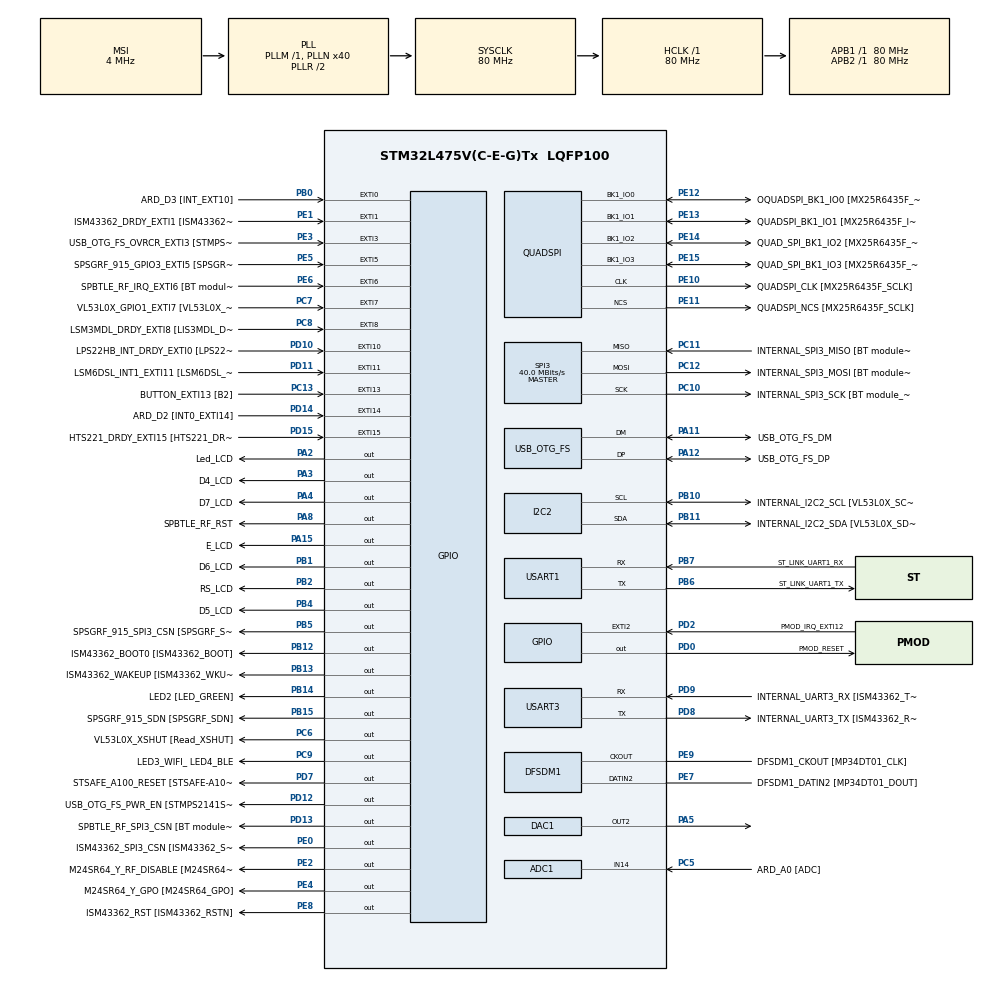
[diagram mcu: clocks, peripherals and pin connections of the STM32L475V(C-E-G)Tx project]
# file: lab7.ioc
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ADC1.Channel-0\#ChannelRegularConversion=ADC_CHANNEL_14
ADC1.NbrOfConversionFlag=1
ADC1.OffsetNumber-0\#ChannelRegularConversion=ADC_OFFSET_NONE
ADC1.Rank-0\#ChannelRegularConversion=1
ADC1.SamplingTime-0\#ChannelRegularConversion=ADC_SAMPLETIME_2CYCLES_5
ADC1.master=1
DAC1.DAC_Channel-DAC_OUT2=DAC_CHANNEL_2
I2C2.Timing=0x10D19CE4
Mcu.Family=STM32L4
Mcu.Name=STM32L475V(C-E-G)Tx
Mcu.Package=LQFP100
NVIC.EXTI15_10_IRQn=true\:0\:0\:false\:false\:true\:true\:true\:true
NVIC.EXTI9_5_IRQn=true\:0\:0\:false\:false\:true\:true\:true\:true
NVIC.OTG_FS_IRQn=true\:0\:0\:false\:false\:true\:true\:true\:true
NVIC.PriorityGroup=NVIC_PRIORITYGROUP_4
NVIC.TIM7_IRQn=true\:0\:0\:false\:false\:true\:true\:true\:true
PA0.GPIO_Label=ARD_D1 [UART4_TX]
PA0.Signal=UART4_TX
PA1.GPIO_Label=ARD_D0 [UART4_RX]
PA1.Signal=UART4_RX
PA10.GPIO_Label=USB_OTG_FS_ID
PA10.Signal=USB_OTG_FS_ID
PA11.GPIO_Label=USB_OTG_FS_DM
PA11.Mode=Device_Only
PA11.Signal=USB_OTG_FS_DM
PA12.GPIO_Label=USB_OTG_FS_DP
PA12.Mode=Device_Only
PA12.Signal=USB_OTG_FS_DP
PA13\ (JTMS-SWDIO).GPIO_Label=SYS_JTMS_SWDIO
PA13\ (JTMS-SWDIO).Mode=Serial_Wire
PA13\ (JTMS-SWDIO).Signal=SYS_JTMS-SWDIO
PA14\ (JTCK-SWCLK).GPIO_Label=SYS_JTCK_SWCLK
PA14\ (JTCK-SWCLK).Mode=Serial_Wire
PA14\ (JTCK-SWCLK).Signal=SYS_JTCK-SWCLK
PA15\ (JTDI).GPIO_Label=E_LCD
PA15\ (JTDI).Signal=GPIO_Output
PA2.GPIO_Label=Led_LCD
PA2.Signal=GPIO_Output
PA3.GPIO_Label=D4_LCD
PA3.Signal=GPIO_Output
PA4.GPIO_Label=D7_LCD
PA4.Signal=GPIO_Output
PA5.Signal=COMP_DAC12_group
PA6.GPIO_Label=ARD_D12 [SPI1_MISO]
PA6.Signal=SPI1_MISO
PA7.GPIO_Label=ARD_D11 [SPI1_MOSI]
PA7.Signal=SPI1_MOSI
PA8.GPIO_Label=SPBTLE_RF_RST
PA8.Signal=GPIO_Output
PA9.GPIO_Label=USB_OTG_FS_VBUS [STMPS2141STR_OUT]
PA9.Signal=USB_OTG_FS_VBUS
PB0.GPIO_Label=ARD_D3 [INT_EXT10]
PB0.Signal=GPXTI0
PB1.GPIO_Label=D6_LCD
PB1.Signal=GPIO_Output
PB10.GPIO_Label=INTERNAL_I2C2_SCL [VL53L0X_SCL]
PB10.GPIO_Pu=GPIO_PULLUP
PB10.Mode=I2C
PB10.Signal=I2C2_SCL
PB11.GPIO_Label=INTERNAL_I2C2_SDA [VL53L0X_SDA]
PB11.GPIO_Pu=GPIO_PULLUP
PB11.Mode=I2C
PB11.Signal=I2C2_SDA
PB12.GPIO_Label=ISM43362_BOOT0 [ISM43362_BOOT]
PB12.Signal=GPIO_Output
PB13.GPIO_Label=ISM43362_WAKEUP [ISM43362_WKUP]
PB13.Signal=GPIO_Output
PB14.GPIO_Label=LED2 [LED_GREEN]
PB14.Signal=GPIO_Output
PB15.GPIO_Label=SPSGRF_915_SDN [SPSGRF_SDN]
PB15.Signal=GPIO_Output
PB2.GPIO_Label=RS_LCD
PB2.Signal=GPIO_Output
PB3\ (JTDO-TRACESWO).GPIO_Label=SYS_JTD0_SWO
PB3\ (JTDO-TRACESWO).Signal=SYS_JTDO-SWO
PB4\ (NJTRST).GPIO_Label=D5_LCD
PB4\ (NJTRST).Signal=GPIO_Output
PB5.GPIO_Label=SPSGRF_915_SPI3_CSN [SPSGRF_SPI_CS]
PB5.PinState=GPIO_PIN_SET
PB5.Signal=GPIO_Output
PB6.GPIO_Label=ST_LINK_UART1_TX
PB6.Mode=Asynchronous
PB6.Signal=USART1_TX
PB7.GPIO_Label=ST_LINK_UART1_RX
PB7.Mode=Asynchronous
PB7.Signal=USART1_RX
PB8.GPIO_Label=ARD_D15 [I2C1_SCL]
PB8.Signal=I2C1_SCL
PB9.GPIO_Label=ARD_D14 [I2C1_SDA]
PB9.Signal=I2C1_SDA
PC0.GPIO_Label=ARD_A5 [ADC]
PC0.Signal=ADCx_IN1
PC1.GPIO_Label=ARD_A4 [ADC]
PC1.Signal=ADCx_IN2
PC10.GPIO_Label=INTERNAL_SPI3_SCK [BT module_SPI_SCLK] [ISM43362_SCK]
PC10.Mode=Full_Duplex_Master
PC10.Signal=SPI3_SCK
PC11.GPIO_Label=INTERNAL_SPI3_MISO [BT module_SPI_MISO] [ISM43362_MISO]
PC11.Mode=Full_Duplex_Master
PC11.Signal=SPI3_MISO
PC12.GPIO_Label=INTERNAL_SPI3_MOSI [BT module_SPI_MOSI] [ISM43362_MOSI]
PC12.Mode=Full_Duplex_Master
PC12.Signal=SPI3_MOSI
PC13.GPIO_Label=BUTTON_EXTI13 [B2]
PC13.GPIO_ModeDefaultEXTI=GPIO_MODE_IT_FALLING
PC13.Signal=GPXTI13
PC14-OSC32_IN\ (PC14).Mode=LSE-External-Oscillator
PC14-OSC32_IN\ (PC14).Signal=RCC_OSC32_IN
PC15-OSC32_OUT\ (PC15).Mode=LSE-External-Oscillator
PC15-OSC32_OUT\ (PC15).Signal=RCC_OSC32_OUT
PC2.GPIO_Label=ARD_A3 [ADC]
PC2.Signal=ADCx_IN3
PC3.GPIO_Label=ARD_A2 [ADC]
PC3.Signal=ADCx_IN4
PC4.GPIO_Label=ARD_A1 [ADC]
PC4.Signal=ADCx_IN13
PC5.GPIO_Label=ARD_A0 [ADC]
PC5.Signal=ADCx_IN14
PC6.GPIO_Label=VL53L0X_XSHUT [Read_XSHUT]
PC6.Signal=GPIO_Output
PC7.GPIO_Label=VL53L0X_GPIO1_EXTI7 [VL53L0X_GPIO1]
PC7.Signal=GPXTI7
PC8.GPIO_Label=LSM3MDL_DRDY_EXTI8 [LIS3MDL_DRDY]
PC8.Signal=GPXTI8
PC9.GPIO_Label=LED3_WIFI_ LED4_BLE
PC9.Signal=GPIO_Output
PD0.GPIO_Label=PMOD_RESET
PD0.Signal=GPIO_Output
PD1.GPIO_Label=PMOD_SPI2_SCK
PD1.Signal=SPI2_SCK
PD10.GPIO_Label=LPS22HB_INT_DRDY_EXTI0 [LPS22HB_INT_DRDY] 
PD10.Signal=GPXTI10
PD11.GPIO_Label=LSM6DSL_INT1_EXTI11 [LSM6DSL_INT1]
PD11.Signal=GPXTI11
PD12.GPIO_Label=USB_OTG_FS_PWR_EN [STMPS2141STR_EN]
PD12.Signal=GPIO_Output
PD13.GPIO_Label=SPBTLE_RF_SPI3_CSN [BT module_SPI_CS]
PD13.PinState=GPIO_PIN_SET
PD13.Signal=GPIO_Output
PD14.GPIO_Label=ARD_D2 [INT0_EXTI14]
PD14.Signal=GPXTI14
PD15.GPIO_Label=HTS221_DRDY_EXTI15 [HTS221_DRDY]
PD15.Signal=GPXTI15
PD2.GPIO_Label=PMOD_IRQ_EXTI12
PD2.Signal=GPXTI2
PD3.GPIO_Label=PMOD_UART2_CTS
PD3.Signal=USART2_CTS
PD4.GPIO_Label=PMOD_UART2_RTS
PD4.Signal=USART2_RTS
PD5.GPIO_Label=PMOD_UART2_TX
PD5.Signal=USART2_TX
PD6.GPIO_Label=PMOD_UART2_RX
PD6.Signal=USART2_RX
PD7.GPIO_Label=STSAFE_A100_RESET [STSAFE-A100_RESET]
PD7.Signal=GPIO_Output
PD8.GPIO_Label=INTERNAL_UART3_TX [ISM43362_RX]
PD8.Mode=Asynchronous
PD8.Signal=USART3_TX
PD9.GPIO_Label=INTERNAL_UART3_RX [ISM43362_TX]
PD9.Mode=Asynchronous
PD9.Signal=USART3_RX
PE0.GPIO_Label=ISM43362_SPI3_CSN [ISM43362_SSN]
PE0.PinState=GPIO_PIN_SET
PE0.Signal=GPIO_Output
PE1.GPIO_Label=ISM43362_DRDY_EXTI1 [ISM43362_DATARDY]
PE1.Signal=GPXTI1
PE10.GPIO_Label=QUADSPI_CLK [MX25R6435F_SCLK]
PE10.Mode=Single Bank
PE10.Signal=QUADSPI_CLK
PE11.GPIO_Label=QUADSPI_NCS [MX25R6435F_SCLK]
PE11.Mode=Single Bank
PE11.Signal=QUADSPI_NCS
PE12.GPIO_Label=OQUADSPI_BK1_IO0 [MX25R6435F_IO0]
PE12.Mode=Single Bank
PE12.Signal=QUADSPI_BK1_IO0
PE13.GPIO_Label=QUADSPI_BK1_IO1 [MX25R6435F_IO1]
PE13.Mode=Single Bank
PE13.Signal=QUADSPI_BK1_IO1
PE14.GPIO_Label=QUAD_SPI_BK1_IO2 [MX25R6435F_IO2]
PE14.Mode=Single Bank
PE14.Signal=QUADSPI_BK1_IO2
PE15.GPIO_Label=QUAD_SPI_BK1_IO3 [MX25R6435F_IO3]
PE15.Mode=Single Bank
PE15.Signal=QUADSPI_BK1_IO3
PE2.GPIO_Label=M24SR64_Y_RF_DISABLE [M24SR64_RFDIS]
PE2.Signal=GPIO_Output
PE3.GPIO_Label=USB_OTG_FS_OVRCR_EXTI3 [STMPS2141STR_FAULT]
PE3.Signal=GPXTI3
PE4.GPIO_Label=M24SR64_Y_GPO [M24SR64_GPO]
PE4.Signal=GPIO_Output
PE5.GPIO_Label=SPSGRF_915_GPIO3_EXTI5 [SPSGRF_GPIO_3]
PE5.Signal=GPXTI5
PE6.GPIO_Label=SPBTLE_RF_IRQ_EXTI6 [BT module_SPI_IRQ]
PE6.Signal=GPXTI6
PE7.GPIO_Label=DFSDM1_DATIN2 [MP34DT01_DOUT]
PE7.Signal=S_DATAIN2DFSDM1
PE8.GPIO_Label=ISM43362_RST [ISM43362_RSTN]
PE8.Signal=GPIO_Output
PE9.GPIO_Label=DFSDM1_CKOUT [MP34DT01_CLK]
PE9.Signal=S_CKOUTDFSDM1
ProjectManager.HeapSize=0x200
ProjectManager.StackSize=0x400
ProjectManager.TargetToolchain=STM32CubeIDE
QUADSPI.ClockPrescaler=2
QUADSPI.FifoThreshold=4
QUADSPI.FlashSize=23
QUADSPI.SampleShifting=QSPI_SAMPLE_SHIFTING_HALFCYCLE
RCC.ADCFreq_Value=48000000
RCC.AHBFreq_Value=80000000
RCC.APB1Freq_Value=80000000
RCC.APB1TimFreq_Value=80000000
RCC.APB2Freq_Value=80000000
RCC.APB2TimFreq_Value=80000000
RCC.CortexFreq_Value=80000000
RCC.HCLKFreq_Value=80000000
RCC.HSE_VALUE=8000000
RCC.HSI_VALUE=16000000
RCC.MSI_VALUE=4000000
RCC.PLLN=40
RCC.PLLSAI1N=24
RCC.SYSCLKFreq_VALUE=80000000
RCC.SYSCLKSource=RCC_SYSCLKSOURCE_PLLCLK
RCC.USBFreq_Value=48000000
RCC.VCOOutputFreq_Value=160000000
SH.ADCx_IN1.0=ADC1_IN1
SH.ADCx_IN13.0=ADC1_IN13
SH.ADCx_IN14.0=ADC1_IN14,IN14-Single-Ended
SH.ADCx_IN2.0=ADC1_IN2
SH.ADCx_IN3.0=ADC1_IN3
SH.ADCx_IN4.0=ADC1_IN4
SH.COMP_DAC12_group.0=DAC1_OUT2,DAC_OUT2
SH.S_CKOUTDFSDM1.0=DFSDM1_CKOUT,CKOUT
SH.S_CKOUTDFSDM1.1=DFSDM1_CKOUT,PDM_SPI_Input_from_ch12_and_Internal_Clock
SH.S_DATAIN2DFSDM1.0=DFSDM1_DATIN2,PDM_SPI_Input_from_ch12_and_Internal_Clock
SPI3.CalculateBaudRate=40.0 MBits/s
SPI3.Direction=SPI_DIRECTION_2LINES
SPI3.Mode=SPI_MODE_MASTER
SPI3.VirtualType=VM_MASTER
TIM7.Period=3300
USART1.VirtualMode-Asynchronous=VM_ASYNC
USART3.VirtualMode-Asynchronous=VM_ASYNC
USB_DEVICE.CLASS_NAME_FS=AUDIO
USB_DEVICE.PID_AUDIO_FS=22337
USB_DEVICE.USBD_AUDIO_FREQ=24000
USB_DEVICE.VirtualMode=Audio
USB_DEVICE.VirtualModeFS=Audio_FS
USB_OTG_FS.VirtualMode=Device_Only
VP_TIM7_VS_ClockSourceINT.Mode=Enable_Timer
VP_USB_DEVICE_VS_USB_DEVICE_AUDIO_FS.Mode=AUDIO_FS
board=B-L475E-IOT01A1

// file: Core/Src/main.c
/* USER CODE BEGIN Header */
/**
  ******************************************************************************
  * @file           : main.c
  * @brief          : Main program body
  ******************************************************************************
  * @attention
  *
  * Copyright (c) 2026 STMicroelectronics.
  * All rights reserved.
  *
  * This software is licensed under terms that can be found in the LICENSE file
  * in the root directory of this software component.
  * If no LICENSE file comes with this software, it is provided AS-IS.
  *
  ******************************************************************************
  */
/* USER CODE END Header */
#include "main.h"
#include "usb_device.h"

/* USER CODE BEGIN Includes */
#include "hd44780.h"
/* USER CODE END Includes */

ADC_HandleTypeDef hadc1;

DAC_HandleTypeDef hdac1;

DFSDM_Channel_HandleTypeDef hdfsdm1_channel1;

I2C_HandleTypeDef hi2c2;

QSPI_HandleTypeDef hqspi;

SPI_HandleTypeDef hspi3;

TIM_HandleTypeDef htim7;

UART_HandleTypeDef huart1;
UART_HandleTypeDef huart3;

void SystemClock_Config(void);
void PeriphCommonClock_Config(void);
static void MX_GPIO_Init(void);
static void MX_DFSDM1_Init(void);
static void MX_I2C2_Init(void);
static void MX_QUADSPI_Init(void);
static void MX_SPI3_Init(void);
static void MX_USART1_UART_Init(void);
static void MX_USART3_UART_Init(void);
static void MX_TIM7_Init(void);
static void MX_DAC1_Init(void);
static void MX_ADC1_Init(void);

/* USER CODE BEGIN 0 */
extern float ganancia;
extern uint8_t efecto;

void tarea3(void) {
    uint16_t botin;
    char str[16];

    // 1. Iniciar la conversión ADC
    HAL_ADC_Start(&hadc1);

    // 2. Esperar a que termine (Timeout de 100ms)
    HAL_ADC_PollForConversion(&hadc1, 100);

    // 3. Leer el valor
    botin = HAL_ADC_GetValue(&hadc1);

    /*moveToXY(0,0);
    lcd_print("Val ADC: ");
    writeIntegerToLCD(botin); // Imprime el valor en crudo*/

    // Si leemos menos de 3000, significa que se pulsó algo (solo con SELECT da ~3333)
    if (botin < 3000) {
        if (botin < 2750 && 2600 < botin) { // Botón LEFT
            efecto = efecto - 5;
        }
        if (botin < 10) { // Botón RIGHT
            efecto = efecto + 5;
        }
        if (botin < 1900 && 1300 < botin) { // Botón DOWN
            ganancia = ganancia - 0.1;
        }
        if (botin < 750 && 650 < botin) { // Botón UP
            ganancia = ganancia + 0.1;
        }
    }

    // 4. Actualizar el LCD
    moveToXY(0,0);
    lcd_print("Efecto= ");
    writeIntegerToLCD(efecto);

    moveToXY(1,0);
    sprintf(str, "Ganan= %.1f ", ganancia); // %.1f para mostrar solo 1 decimal
    lcd_print(str);
}
/* USER CODE END 0 */

int main(void)
{

  /* MCU Configuration--------------------------------------------------------*/

  /* Reset of all peripherals, Initializes the Flash interface and the Systick. */
  HAL_Init();

  /* Configure the system clock */
  SystemClock_Config();

  /* Configure the peripherals common clocks */
  PeriphCommonClock_Config();

  /* Initialize all configured peripherals */
  MX_GPIO_Init();
  MX_DFSDM1_Init();
  MX_I2C2_Init();
  MX_QUADSPI_Init();
  MX_SPI3_Init();
  MX_USART1_UART_Init();
  MX_USART3_UART_Init();
  MX_TIM7_Init();
  MX_USB_DEVICE_Init();
  MX_DAC1_Init();
  MX_ADC1_Init();
  /* USER CODE BEGIN 2 */
  HAL_DAC_Start(&hdac1, DAC1_CHANNEL_2);
  HAL_TIM_Base_Start_IT(&htim7);
  lcd_reset();
  lcd_display_settings(1,0,0);
  lcd_clear();
  HAL_GPIO_WritePin(GPIOA, Led_LCD_Pin, 1); // ¡Esta es la línea que enciende la luz!
  /* USER CODE END 2 */

  /* Infinite loop */
  /* USER CODE BEGIN WHILE */
  while (1)
  {
	  tarea3();
	  HAL_Delay(300);
    /* USER CODE END WHILE */

  }
}

void SystemClock_Config(void)
{
  RCC_OscInitTypeDef RCC_OscInitStruct = {0};
  RCC_ClkInitTypeDef RCC_ClkInitStruct = {0};

  /** Configure the main internal regulator output voltage
  */
  if (HAL_PWREx_ControlVoltageScaling(PWR_REGULATOR_VOLTAGE_SCALE1) != HAL_OK)
  {
    Error_Handler();
  }

  /** Configure LSE Drive Capability
  */
  HAL_PWR_EnableBkUpAccess();
  __HAL_RCC_LSEDRIVE_CONFIG(RCC_LSEDRIVE_LOW);

  /** Initializes the RCC Oscillators according to the specified parameters
  * in the RCC_OscInitTypeDef structure.
  */
  RCC_OscInitStruct.OscillatorType = RCC_OSCILLATORTYPE_LSE|RCC_OSCILLATORTYPE_MSI;
  RCC_OscInitStruct.LSEState = RCC_LSE_ON;
  RCC_OscInitStruct.MSIState = RCC_MSI_ON;
  RCC_OscInitStruct.MSICalibrationValue = 0;
  RCC_OscInitStruct.MSIClockRange = RCC_MSIRANGE_6;
  RCC_OscInitStruct.PLL.PLLState = RCC_PLL_ON;
  RCC_OscInitStruct.PLL.PLLSource = RCC_PLLSOURCE_MSI;
  RCC_OscInitStruct.PLL.PLLM = 1;
  RCC_OscInitStruct.PLL.PLLN = 40;
  RCC_OscInitStruct.PLL.PLLP = RCC_PLLP_DIV7;
  RCC_OscInitStruct.PLL.PLLQ = RCC_PLLQ_DIV2;
  RCC_OscInitStruct.PLL.PLLR = RCC_PLLR_DIV2;
  if (HAL_RCC_OscConfig(&RCC_OscInitStruct) != HAL_OK)
  {
    Error_Handler();
  }

  /** Initializes the CPU, AHB and APB buses clocks
  */
  RCC_ClkInitStruct.ClockType = RCC_CLOCKTYPE_HCLK|RCC_CLOCKTYPE_SYSCLK
                              |RCC_CLOCKTYPE_PCLK1|RCC_CLOCKTYPE_PCLK2;
  RCC_ClkInitStruct.SYSCLKSource = RCC_SYSCLKSOURCE_PLLCLK;
  RCC_ClkInitStruct.AHBCLKDivider = RCC_SYSCLK_DIV1;
  RCC_ClkInitStruct.APB1CLKDivider = RCC_HCLK_DIV1;
  RCC_ClkInitStruct.APB2CLKDivider = RCC_HCLK_DIV1;

  if (HAL_RCC_ClockConfig(&RCC_ClkInitStruct, FLASH_LATENCY_4) != HAL_OK)
  {
    Error_Handler();
  }

  /** Enable MSI Auto calibration
  */
  HAL_RCCEx_EnableMSIPLLMode();
}

void PeriphCommonClock_Config(void)
{
  RCC_PeriphCLKInitTypeDef PeriphClkInit = {0};

  /** Initializes the peripherals clock
  */
  PeriphClkInit.PeriphClockSelection = RCC_PERIPHCLK_USB|RCC_PERIPHCLK_ADC;
  PeriphClkInit.AdcClockSelection = RCC_ADCCLKSOURCE_PLLSAI1;
  PeriphClkInit.UsbClockSelection = RCC_USBCLKSOURCE_PLLSAI1;
  PeriphClkInit.PLLSAI1.PLLSAI1Source = RCC_PLLSOURCE_MSI;
  PeriphClkInit.PLLSAI1.PLLSAI1M = 1;
  PeriphClkInit.PLLSAI1.PLLSAI1N = 24;
  PeriphClkInit.PLLSAI1.PLLSAI1P = RCC_PLLP_DIV7;
  PeriphClkInit.PLLSAI1.PLLSAI1Q = RCC_PLLQ_DIV2;
  PeriphClkInit.PLLSAI1.PLLSAI1R = RCC_PLLR_DIV2;
  PeriphClkInit.PLLSAI1.PLLSAI1ClockOut = RCC_PLLSAI1_48M2CLK|RCC_PLLSAI1_ADC1CLK;
  if (HAL_RCCEx_PeriphCLKConfig(&PeriphClkInit) != HAL_OK)
  {
    Error_Handler();
  }
}

static void MX_ADC1_Init(void)
{

  ADC_MultiModeTypeDef multimode = {0};
  ADC_ChannelConfTypeDef sConfig = {0};

  /** Common config
  */
  hadc1.Instance = ADC1;
  hadc1.Init.ClockPrescaler = ADC_CLOCK_ASYNC_DIV1;
  hadc1.Init.Resolution = ADC_RESOLUTION_12B;
  hadc1.Init.DataAlign = ADC_DATAALIGN_RIGHT;
  hadc1.Init.ScanConvMode = ADC_SCAN_DISABLE;
  hadc1.Init.EOCSelection = ADC_EOC_SINGLE_CONV;
  hadc1.Init.LowPowerAutoWait = DISABLE;
  hadc1.Init.ContinuousConvMode = DISABLE;
  hadc1.Init.NbrOfConversion = 1;
  hadc1.Init.DiscontinuousConvMode = DISABLE;
  hadc1.Init.ExternalTrigConv = ADC_SOFTWARE_START;
  hadc1.Init.ExternalTrigConvEdge = ADC_EXTERNALTRIGCONVEDGE_NONE;
  hadc1.Init.DMAContinuousRequests = DISABLE;
  hadc1.Init.Overrun = ADC_OVR_DATA_PRESERVED;
  hadc1.Init.OversamplingMode = DISABLE;
  if (HAL_ADC_Init(&hadc1) != HAL_OK)
  {
    Error_Handler();
  }

  /** Configure the ADC multi-mode
  */
  multimode.Mode = ADC_MODE_INDEPENDENT;
  if (HAL_ADCEx_MultiModeConfigChannel(&hadc1, &multimode) != HAL_OK)
  {
    Error_Handler();
  }

  /** Configure Regular Channel
  */
  sConfig.Channel = ADC_CHANNEL_14;
  sConfig.Rank = ADC_REGULAR_RANK_1;
  sConfig.SamplingTime = ADC_SAMPLETIME_2CYCLES_5;
  sConfig.SingleDiff = ADC_SINGLE_ENDED;
  sConfig.OffsetNumber = ADC_OFFSET_NONE;
  sConfig.Offset = 0;
  if (HAL_ADC_ConfigChannel(&hadc1, &sConfig) != HAL_OK)
  {
    Error_Handler();
  }

}

static void MX_DAC1_Init(void)
{

  DAC_ChannelConfTypeDef sConfig = {0};

  /** DAC Initialization
  */
  hdac1.Instance = DAC1;
  if (HAL_DAC_Init(&hdac1) != HAL_OK)
  {
    Error_Handler();
  }

  /** DAC channel OUT2 config
  */
  sConfig.DAC_SampleAndHold = DAC_SAMPLEANDHOLD_DISABLE;
  sConfig.DAC_Trigger = DAC_TRIGGER_NONE;
  sConfig.DAC_OutputBuffer = DAC_OUTPUTBUFFER_ENABLE;
  sConfig.DAC_ConnectOnChipPeripheral = DAC_CHIPCONNECT_DISABLE;
  sConfig.DAC_UserTrimming = DAC_TRIMMING_FACTORY;
  if (HAL_DAC_ConfigChannel(&hdac1, &sConfig, DAC_CHANNEL_2) != HAL_OK)
  {
    Error_Handler();
  }

}

static void MX_DFSDM1_Init(void)
{

  hdfsdm1_channel1.Instance = DFSDM1_Channel1;
  hdfsdm1_channel1.Init.OutputClock.Activation = ENABLE;
  hdfsdm1_channel1.Init.OutputClock.Selection = DFSDM_CHANNEL_OUTPUT_CLOCK_SYSTEM;
  hdfsdm1_channel1.Init.OutputClock.Divider = 2;
  hdfsdm1_channel1.Init.Input.Multiplexer = DFSDM_CHANNEL_EXTERNAL_INPUTS;
  hdfsdm1_channel1.Init.Input.DataPacking = DFSDM_CHANNEL_STANDARD_MODE;
  hdfsdm1_channel1.Init.Input.Pins = DFSDM_CHANNEL_FOLLOWING_CHANNEL_PINS;
  hdfsdm1_channel1.Init.SerialInterface.Type = DFSDM_CHANNEL_SPI_RISING;
  hdfsdm1_channel1.Init.SerialInterface.SpiClock = DFSDM_CHANNEL_SPI_CLOCK_INTERNAL;
  hdfsdm1_channel1.Init.Awd.FilterOrder = DFSDM_CHANNEL_FASTSINC_ORDER;
  hdfsdm1_channel1.Init.Awd.Oversampling = 1;
  hdfsdm1_channel1.Init.Offset = 0;
  hdfsdm1_channel1.Init.RightBitShift = 0x00;
  if (HAL_DFSDM_ChannelInit(&hdfsdm1_channel1) != HAL_OK)
  {
    Error_Handler();
  }

}

static void MX_I2C2_Init(void)
{

  hi2c2.Instance = I2C2;
  hi2c2.Init.Timing = 0x10D19CE4;
  hi2c2.Init.OwnAddress1 = 0;
  hi2c2.Init.AddressingMode = I2C_ADDRESSINGMODE_7BIT;
  hi2c2.Init.DualAddressMode = I2C_DUALADDRESS_DISABLE;
  hi2c2.Init.OwnAddress2 = 0;
  hi2c2.Init.OwnAddress2Masks = I2C_OA2_NOMASK;
  hi2c2.Init.GeneralCallMode = I2C_GENERALCALL_DISABLE;
  hi2c2.Init.NoStretchMode = I2C_NOSTRETCH_DISABLE;
  if (HAL_I2C_Init(&hi2c2) != HAL_OK)
  {
    Error_Handler();
  }

  /** Configure Analogue filter
  */
  if (HAL_I2CEx_ConfigAnalogFilter(&hi2c2, I2C_ANALOGFILTER_ENABLE) != HAL_OK)
  {
    Error_Handler();
  }

  /** Configure Digital filter
  */
  if (HAL_I2CEx_ConfigDigitalFilter(&hi2c2, 0) != HAL_OK)
  {
    Error_Handler();
  }

}

static void MX_QUADSPI_Init(void)
{

  /* QUADSPI parameter configuration*/
  hqspi.Instance = QUADSPI;
  hqspi.Init.ClockPrescaler = 2;
  hqspi.Init.FifoThreshold = 4;
  hqspi.Init.SampleShifting = QSPI_SAMPLE_SHIFTING_HALFCYCLE;
  hqspi.Init.FlashSize = 23;
  hqspi.Init.ChipSelectHighTime = QSPI_CS_HIGH_TIME_1_CYCLE;
  hqspi.Init.ClockMode = QSPI_CLOCK_MODE_0;
  if (HAL_QSPI_Init(&hqspi) != HAL_OK)
  {
    Error_Handler();
  }

}

static void MX_SPI3_Init(void)
{

  /* SPI3 parameter configuration*/
  hspi3.Instance = SPI3;
  hspi3.Init.Mode = SPI_MODE_MASTER;
  hspi3.Init.Direction = SPI_DIRECTION_2LINES;
  hspi3.Init.DataSize = SPI_DATASIZE_4BIT;
  hspi3.Init.CLKPolarity = SPI_POLARITY_LOW;
  hspi3.Init.CLKPhase = SPI_PHASE_1EDGE;
  hspi3.Init.NSS = SPI_NSS_SOFT;
  hspi3.Init.BaudRatePrescaler = SPI_BAUDRATEPRESCALER_2;
  hspi3.Init.FirstBit = SPI_FIRSTBIT_MSB;
  hspi3.Init.TIMode = SPI_TIMODE_DISABLE;
  hspi3.Init.CRCCalculation = SPI_CRCCALCULATION_DISABLE;
  hspi3.Init.CRCPolynomial = 7;
  hspi3.Init.CRCLength = SPI_CRC_LENGTH_DATASIZE;
  hspi3.Init.NSSPMode = SPI_NSS_PULSE_ENABLE;
  if (HAL_SPI_Init(&hspi3) != HAL_OK)
  {
    Error_Handler();
  }

}

static void MX_TIM7_Init(void)
{

  TIM_MasterConfigTypeDef sMasterConfig = {0};

  htim7.Instance = TIM7;
  htim7.Init.Prescaler = 0;
  htim7.Init.CounterMode = TIM_COUNTERMODE_UP;
  htim7.Init.Period = 3300;
  htim7.Init.AutoReloadPreload = TIM_AUTORELOAD_PRELOAD_DISABLE;
  if (HAL_TIM_Base_Init(&htim7) != HAL_OK)
  {
    Error_Handler();
  }
  sMasterConfig.MasterOutputTrigger = TIM_TRGO_RESET;
  sMasterConfig.MasterSlaveMode = TIM_MASTERSLAVEMODE_DISABLE;
  if (HAL_TIMEx_MasterConfigSynchronization(&htim7, &sMasterConfig) != HAL_OK)
  {
    Error_Handler();
  }

}

static void MX_USART1_UART_Init(void)
{

  huart1.Instance = USART1;
  huart1.Init.BaudRate = 115200;
  huart1.Init.WordLength = UART_WORDLENGTH_8B;
  huart1.Init.StopBits = UART_STOPBITS_1;
  huart1.Init.Parity = UART_PARITY_NONE;
  huart1.Init.Mode = UART_MODE_TX_RX;
  huart1.Init.HwFlowCtl = UART_HWCONTROL_NONE;
  huart1.Init.OverSampling = UART_OVERSAMPLING_16;
  huart1.Init.OneBitSampling = UART_ONE_BIT_SAMPLE_DISABLE;
  huart1.AdvancedInit.AdvFeatureInit = UART_ADVFEATURE_NO_INIT;
  if (HAL_UART_Init(&huart1) != HAL_OK)
  {
    Error_Handler();
  }

}

static void MX_USART3_UART_Init(void)
{

  huart3.Instance = USART3;
  huart3.Init.BaudRate = 115200;
  huart3.Init.WordLength = UART_WORDLENGTH_8B;
  huart3.Init.StopBits = UART_STOPBITS_1;
  huart3.Init.Parity = UART_PARITY_NONE;
  huart3.Init.Mode = UART_MODE_TX_RX;
  huart3.Init.HwFlowCtl = UART_HWCONTROL_NONE;
  huart3.Init.OverSampling = UART_OVERSAMPLING_16;
  huart3.Init.OneBitSampling = UART_ONE_BIT_SAMPLE_DISABLE;
  huart3.AdvancedInit.AdvFeatureInit = UART_ADVFEATURE_NO_INIT;
  if (HAL_UART_Init(&huart3) != HAL_OK)
  {
    Error_Handler();
  }

}

static void MX_GPIO_Init(void)
{
  GPIO_InitTypeDef GPIO_InitStruct = {0};

  /* GPIO Ports Clock Enable */
  __HAL_RCC_GPIOE_CLK_ENABLE();
  __HAL_RCC_GPIOC_CLK_ENABLE();
  __HAL_RCC_GPIOA_CLK_ENABLE();
  __HAL_RCC_GPIOB_CLK_ENABLE();
  __HAL_RCC_GPIOD_CLK_ENABLE();

  /*Configure GPIO pin Output Level */
  HAL_GPIO_WritePin(GPIOE, M24SR64_Y_RF_DISABLE_Pin|M24SR64_Y_GPO_Pin|ISM43362_RST_Pin, GPIO_PIN_RESET);

  /*Configure GPIO pin Output Level */
  HAL_GPIO_WritePin(GPIOA, Led_LCD_Pin|D4_LCD_Pin|D7_LCD_Pin|SPBTLE_RF_RST_Pin
                          |E_LCD_Pin, GPIO_PIN_RESET);

  /*Configure GPIO pin Output Level */
  HAL_GPIO_WritePin(GPIOB, D6_LCD_Pin|RS_LCD_Pin|ISM43362_BOOT0_Pin|ISM43362_WAKEUP_Pin
                          |LED2_Pin|SPSGRF_915_SDN_Pin|D5_LCD_Pin, GPIO_PIN_RESET);

  /*Configure GPIO pin Output Level */
  HAL_GPIO_WritePin(GPIOD, USB_OTG_FS_PWR_EN_Pin|PMOD_RESET_Pin|STSAFE_A100_RESET_Pin, GPIO_PIN_RESET);

  /*Configure GPIO pin Output Level */
  HAL_GPIO_WritePin(SPBTLE_RF_SPI3_CSN_GPIO_Port, SPBTLE_RF_SPI3_CSN_Pin, GPIO_PIN_SET);

  /*Configure GPIO pin Output Level */
  HAL_GPIO_WritePin(GPIOC, VL53L0X_XSHUT_Pin|LED3_WIFI__LED4_BLE_Pin, GPIO_PIN_RESET);

  /*Configure GPIO pin Output Level */
  HAL_GPIO_WritePin(SPSGRF_915_SPI3_CSN_GPIO_Port, SPSGRF_915_SPI3_CSN_Pin, GPIO_PIN_SET);

  /*Configure GPIO pin Output Level */
  HAL_GPIO_WritePin(ISM43362_SPI3_CSN_GPIO_Port, ISM43362_SPI3_CSN_Pin, GPIO_PIN_SET);

  /*Configure GPIO pins : M24SR64_Y_RF_DISABLE_Pin M24SR64_Y_GPO_Pin ISM43362_RST_Pin ISM43362_SPI3_CSN_Pin */
  GPIO_InitStruct.Pin = M24SR64_Y_RF_DISABLE_Pin|M24SR64_Y_GPO_Pin|ISM43362_RST_Pin|ISM43362_SPI3_CSN_Pin;
  GPIO_InitStruct.Mode = GPIO_MODE_OUTPUT_PP;
  GPIO_InitStruct.Pull = GPIO_NOPULL;
  GPIO_InitStruct.Speed = GPIO_SPEED_FREQ_LOW;
  HAL_GPIO_Init(GPIOE, &GPIO_InitStruct);

  /*Configure GPIO pins : USB_OTG_FS_OVRCR_EXTI3_Pin SPSGRF_915_GPIO3_EXTI5_Pin SPBTLE_RF_IRQ_EXTI6_Pin ISM43362_DRDY_EXTI1_Pin */
  GPIO_InitStruct.Pin = USB_OTG_FS_OVRCR_EXTI3_Pin|SPSGRF_915_GPIO3_EXTI5_Pin|SPBTLE_RF_IRQ_EXTI6_Pin|ISM43362_DRDY_EXTI1_Pin;
  GPIO_InitStruct.Mode = GPIO_MODE_IT_RISING;
  GPIO_InitStruct.Pull = GPIO_NOPULL;
  HAL_GPIO_Init(GPIOE, &GPIO_InitStruct);

  /*Configure GPIO pin : BUTTON_EXTI13_Pin */
  GPIO_InitStruct.Pin = BUTTON_EXTI13_Pin;
  GPIO_InitStruct.Mode = GPIO_MODE_IT_FALLING;
  GPIO_InitStruct.Pull = GPIO_NOPULL;
  HAL_GPIO_Init(BUTTON_EXTI13_GPIO_Port, &GPIO_InitStruct);

  /*Configure GPIO pins : ARD_D1_Pin ARD_D0_Pin */
  GPIO_InitStruct.Pin = ARD_D1_Pin|ARD_D0_Pin;
  GPIO_InitStruct.Mode = GPIO_MODE_AF_PP;
  GPIO_InitStruct.Pull = GPIO_NOPULL;
  GPIO_InitStruct.Speed = GPIO_SPEED_FREQ_VERY_HIGH;
  GPIO_InitStruct.Alternate = GPIO_AF8_UART4;
  HAL_GPIO_Init(GPIOA, &GPIO_InitStruct);

  /*Configure GPIO pins : Led_LCD_Pin D4_LCD_Pin D7_LCD_Pin SPBTLE_RF_RST_Pin
                           E_LCD_Pin */
  GPIO_InitStruct.Pin = Led_LCD_Pin|D4_LCD_Pin|D7_LCD_Pin|SPBTLE_RF_RST_Pin
                          |E_LCD_Pin;
  GPIO_InitStruct.Mode = GPIO_MODE_OUTPUT_PP;
  GPIO_InitStruct.Pull = GPIO_NOPULL;
  GPIO_InitStruct.Speed = GPIO_SPEED_FREQ_LOW;
  HAL_GPIO_Init(GPIOA, &GPIO_InitStruct);

  /*Configure GPIO pins : ARD_D12_Pin ARD_D11_Pin */
  GPIO_InitStruct.Pin = ARD_D12_Pin|ARD_D11_Pin;
  GPIO_InitStruct.Mode = GPIO_MODE_AF_PP;
  GPIO_InitStruct.Pull = GPIO_NOPULL;
  GPIO_InitStruct.Speed = GPIO_SPEED_FREQ_VERY_HIGH;
  GPIO_InitStruct.Alternate = GPIO_AF5_SPI1;
  HAL_GPIO_Init(GPIOA, &GPIO_InitStruct);

  /*Configure GPIO pin : ARD_D3_Pin */
  GPIO_InitStruct.Pin = ARD_D3_Pin;
  GPIO_InitStruct.Mode = GPIO_MODE_IT_RISING;
  GPIO_InitStruct.Pull = GPIO_NOPULL;
  HAL_GPIO_Init(ARD_D3_GPIO_Port, &GPIO_InitStruct);

  /*Configure GPIO pins : D6_LCD_Pin RS_LCD_Pin ISM43362_BOOT0_Pin ISM43362_WAKEUP_Pin
                           LED2_Pin SPSGRF_915_SDN_Pin D5_LCD_Pin SPSGRF_915_SPI3_CSN_Pin */
  GPIO_InitStruct.Pin = D6_LCD_Pin|RS_LCD_Pin|ISM43362_BOOT0_Pin|ISM43362_WAKEUP_Pin
                          |LED2_Pin|SPSGRF_915_SDN_Pin|D5_LCD_Pin|SPSGRF_915_SPI3_CSN_Pin;
  GPIO_InitStruct.Mode = GPIO_MODE_OUTPUT_PP;
  GPIO_InitStruct.Pull = GPIO_NOPULL;
  GPIO_InitStruct.Speed = GPIO_SPEED_FREQ_LOW;
  HAL_GPIO_Init(GPIOB, &GPIO_InitStruct);

  /*Configure GPIO pins : LPS22HB_INT_DRDY_EXTI0_Pin LSM6DSL_INT1_EXTI11_Pin ARD_D2_Pin HTS221_DRDY_EXTI15_Pin
                           PMOD_IRQ_EXTI12_Pin */
  GPIO_InitStruct.Pin = LPS22HB_INT_DRDY_EXTI0_Pin|LSM6DSL_INT1_EXTI11_Pin|ARD_D2_Pin|HTS221_DRDY_EXTI15_Pin
                          |PMOD_IRQ_EXTI12_Pin;
  GPIO_InitStruct.Mode = GPIO_MODE_IT_RISING;
  GPIO_InitStruct.Pull = GPIO_NOPULL;
  HAL_GPIO_Init(GPIOD, &GPIO_InitStruct);

  /*Configure GPIO pins : USB_OTG_FS_PWR_EN_Pin SPBTLE_RF_SPI3_CSN_Pin PMOD_RESET_Pin STSAFE_A100_RESET_Pin */
  GPIO_InitStruct.Pin = USB_OTG_FS_PWR_EN_Pin|SPBTLE_RF_SPI3_CSN_Pin|PMOD_RESET_Pin|STSAFE_A100_RESET_Pin;
  GPIO_InitStruct.Mode = GPIO_MODE_OUTPUT_PP;
  GPIO_InitStruct.Pull = GPIO_NOPULL;
  GPIO_InitStruct.Speed = GPIO_SPEED_FREQ_LOW;
  HAL_GPIO_Init(GPIOD, &GPIO_InitStruct);

  /*Configure GPIO pins : VL53L0X_XSHUT_Pin LED3_WIFI__LED4_BLE_Pin */
  GPIO_InitStruct.Pin = VL53L0X_XSHUT_Pin|LED3_WIFI__LED4_BLE_Pin;
  GPIO_InitStruct.Mode = GPIO_MODE_OUTPUT_PP;
  GPIO_InitStruct.Pull = GPIO_NOPULL;
  GPIO_InitStruct.Speed = GPIO_SPEED_FREQ_LOW;
  HAL_GPIO_Init(GPIOC, &GPIO_InitStruct);

  /*Configure GPIO pins : VL53L0X_GPIO1_EXTI7_Pin LSM3MDL_DRDY_EXTI8_Pin */
  GPIO_InitStruct.Pin = VL53L0X_GPIO1_EXTI7_Pin|LSM3MDL_DRDY_EXTI8_Pin;
  GPIO_InitStruct.Mode = GPIO_MODE_IT_RISING;
  GPIO_InitStruct.Pull = GPIO_NOPULL;
  HAL_GPIO_Init(GPIOC, &GPIO_InitStruct);

  /*Configure GPIO pin : PMOD_SPI2_SCK_Pin */
  GPIO_InitStruct.Pin = PMOD_SPI2_SCK_Pin;
  GPIO_InitStruct.Mode = GPIO_MODE_AF_PP;
  GPIO_InitStruct.Pull = GPIO_NOPULL;
  GPIO_InitStruct.Speed = GPIO_SPEED_FREQ_VERY_HIGH;
  GPIO_InitStruct.Alternate = GPIO_AF5_SPI2;
  HAL_GPIO_Init(PMOD_SPI2_SCK_GPIO_Port, &GPIO_InitStruct);

  /*Configure GPIO pins : PMOD_UART2_CTS_Pin PMOD_UART2_RTS_Pin PMOD_UART2_TX_Pin PMOD_UART2_RX_Pin */
  GPIO_InitStruct.Pin = PMOD_UART2_CTS_Pin|PMOD_UART2_RTS_Pin|PMOD_UART2_TX_Pin|PMOD_UART2_RX_Pin;
  GPIO_InitStruct.Mode = GPIO_MODE_AF_PP;
  GPIO_InitStruct.Pull = GPIO_NOPULL;
  GPIO_InitStruct.Speed = GPIO_SPEED_FREQ_VERY_HIGH;
  GPIO_InitStruct.Alternate = GPIO_AF7_USART2;
  HAL_GPIO_Init(GPIOD, &GPIO_InitStruct);

  /*Configure GPIO pins : ARD_D15_Pin ARD_D14_Pin */
  GPIO_InitStruct.Pin = ARD_D15_Pin|ARD_D14_Pin;
  GPIO_InitStruct.Mode = GPIO_MODE_AF_OD;
  GPIO_InitStruct.Pull = GPIO_NOPULL;
  GPIO_InitStruct.Speed = GPIO_SPEED_FREQ_VERY_HIGH;
  GPIO_InitStruct.Alternate = GPIO_AF4_I2C1;
  HAL_GPIO_Init(GPIOB, &GPIO_InitStruct);

  /* EXTI interrupt init*/
  HAL_NVIC_SetPriority(EXTI9_5_IRQn, 0, 0);
  HAL_NVIC_EnableIRQ(EXTI9_5_IRQn);

  HAL_NVIC_SetPriority(EXTI15_10_IRQn, 0, 0);
  HAL_NVIC_EnableIRQ(EXTI15_10_IRQn);

}

void Error_Handler(void)
{
  __disable_irq();
  while (1)
  {
  }
}
